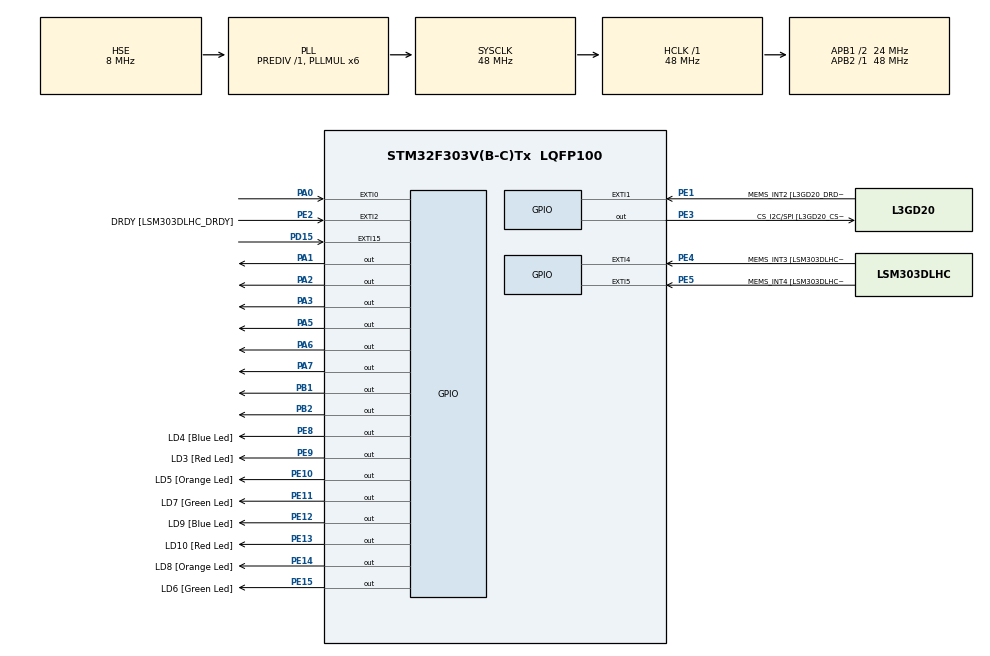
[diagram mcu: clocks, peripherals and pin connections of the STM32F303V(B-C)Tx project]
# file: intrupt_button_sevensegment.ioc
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Mcu.Family=STM32F3
Mcu.Name=STM32F303V(B-C)Tx
Mcu.Package=LQFP100
NVIC.EXTI0_IRQn=true\:0\:0\:false\:false\:true\:true\:true
NVIC.EXTI15_10_IRQn=true\:0\:0\:false\:false\:true\:true\:true
NVIC.PriorityGroup=NVIC_PRIORITYGROUP_0
PA0.GPIO_ModeDefaultEXTI=GPIO_MODE_IT_RISING_FALLING
PA0.GPIO_PuPd=GPIO_PULLDOWN
PA0.Signal=GPXTI0
PA1.Signal=GPIO_Output
PA11.GPIO_Label=DM
PA11.Signal=USB_DM
PA12.GPIO_Label=DP
PA12.Signal=USB_DP
PA13.GPIO_Label=SWDIO
PA13.Mode=Serial_Wire
PA13.Signal=SYS_JTMS-SWDIO
PA14.GPIO_Label=SWCLK
PA14.Mode=Serial_Wire
PA14.Signal=SYS_JTCK-SWCLK
PA2.Signal=GPIO_Output
PA3.Signal=GPIO_Output
PA5.Signal=GPIO_Output
PA6.Signal=GPIO_Output
PA7.Signal=GPIO_Output
PB1.Signal=GPIO_Output
PB2.Signal=GPIO_Output
PB3.GPIO_Label=SWO
PB3.Signal=SYS_JTDO-TRACESWO
PB6.GPIO_Label=I2C1_SCL [LSM303DLHC_SCL]
PB6.GPIO_Pu=GPIO_PULLUP
PB6.Signal=I2C1_SCL
PB7.GPIO_Label=I2C1_SDA [LSM303DLHC_SDA]
PB7.GPIO_Pu=GPIO_PULLUP
PB7.Signal=I2C1_SDA
PC14-OSC32_IN.GPIO_Label=OSC32_IN
PC14-OSC32_IN.Signal=RCC_OSC32_IN
PC15-OSC32_OUT.GPIO_Label=OSC32_OUT
PC15-OSC32_OUT.Signal=RCC_OSC32_OUT
PD15.GPIO_ModeDefaultEXTI=GPIO_MODE_IT_RISING_FALLING
PD15.GPIO_PuPd=GPIO_PULLDOWN
PD15.Signal=GPXTI15
PE1.GPIO_Label=MEMS_INT2 [L3GD20_DRDY/INT2]
PE1.GPIO_ModeDefaultEXTI=GPIO_MODE_EVT_RISING
PE1.Signal=GPXTI1
PE10.GPIO_Label=LD5 [Orange Led]
PE10.Signal=GPIO_Output
PE11.GPIO_Label=LD7 [Green Led]
PE11.Signal=GPIO_Output
PE12.GPIO_Label=LD9 [Blue Led]
PE12.Signal=GPIO_Output
PE13.GPIO_Label=LD10 [Red Led]
PE13.Signal=GPIO_Output
PE14.GPIO_Label=LD8 [Orange Led]
PE14.Signal=GPIO_Output
PE15.GPIO_Label=LD6 [Green Led]
PE15.Signal=GPIO_Output
PE2.GPIO_Label=DRDY [LSM303DLHC_DRDY]
PE2.GPIO_ModeDefaultEXTI=GPIO_MODE_EVT_RISING
PE2.Signal=GPXTI2
PE3.GPIO_Label=CS_I2C/SPI [L3GD20_CS_I2C/SPI]
PE3.Signal=GPIO_Output
PE4.GPIO_Label=MEMS_INT3 [LSM303DLHC_INT1]
PE4.GPIO_ModeDefaultEXTI=GPIO_MODE_EVT_RISING
PE4.Signal=GPXTI4
PE5.GPIO_Label=MEMS_INT4 [LSM303DLHC_INT2]
PE5.GPIO_ModeDefaultEXTI=GPIO_MODE_EVT_RISING
PE5.Signal=GPXTI5
PE8.GPIO_Label=LD4 [Blue Led]
PE8.Signal=GPIO_Output
PE9.GPIO_Label=LD3 [Red Led]
PE9.Signal=GPIO_Output
PF0-OSC_IN.GPIO_Label=OSC_IN
PF0-OSC_IN.Mode=HSE-External-Clock-Source
PF0-OSC_IN.Signal=RCC_OSC_IN
PF1-OSC_OUT.GPIO_Label=OSC_OUT
PF1-OSC_OUT.Signal=RCC_OSC_OUT
ProjectManager.HeapSize=0x200
ProjectManager.StackSize=0x400
ProjectManager.TargetToolchain=STM32CubeIDE
RCC.AHBFreq_Value=48000000
RCC.APB1CLKDivider=RCC_HCLK_DIV2
RCC.APB1Freq_Value=24000000
RCC.APB1TimFreq_Value=48000000
RCC.APB2Freq_Value=48000000
RCC.APB2TimFreq_Value=48000000
RCC.CortexFreq_Value=48000000
RCC.HCLKFreq_Value=48000000
RCC.HSE_VALUE=8000000
RCC.HSI_VALUE=8000000
RCC.LSE_VALUE=32768
RCC.PLLMUL=RCC_PLL_MUL6
RCC.PLLSourceVirtual=RCC_PLLSOURCE_HSE
RCC.SYSCLKFreq_VALUE=48000000
RCC.SYSCLKSourceVirtual=RCC_SYSCLKSOURCE_PLLCLK
RCC.USBFreq_Value=48000000
board=STM32F3DISCOVERY

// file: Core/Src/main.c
/* USER CODE BEGIN Header */
/**
  ******************************************************************************
  * @file           : main.c
  * @brief          : Main program body
  ******************************************************************************
  * @attention
  *
  * <h2><center>&copy; Copyright (c) 2021 STMicroelectronics.
  * All rights reserved.</center></h2>
  *
  * This software component is licensed by ST under BSD 3-Clause license,
  * the "License"; You may not use this file except in compliance with the
  * License. You may obtain a copy of the License at:
  *                        opensource.org/licenses/BSD-3-Clause
  *
  ******************************************************************************
  */
/* USER CODE END Header */
#include "main.h"

void SystemClock_Config(void);
static void MX_GPIO_Init(void);

/* USER CODE BEGIN 0 */

void split_number(int num, int digits[4]) {
    if(num > 9999) {
        return;
    }
    for(int i = 0; num > 0 && i < 4; i++) {
        int digit = num % 10;
        digits[3 - i] = digit;
        num /= 10;
    }
}

void to_bcd(int digit, int b[4]) {
   int bcd = 0;
   if (digit > 0) {
      bcd |= (digit % 10) << (0 << 2);
   }
   b[3] = (bcd & 8) > 0 ? 1 : 0;
   b[2] = (bcd & 4) > 0 ? 1 : 0;
   b[1] = (bcd & 2) > 0 ? 1 : 0;
   b[0] = (bcd & 1) > 0 ? 1 : 0;
}

void off_all() {
	HAL_GPIO_WritePin(GPIOA, GPIO_PIN_1 , 1);
	HAL_GPIO_WritePin(GPIOA, GPIO_PIN_2, 1);
	HAL_GPIO_WritePin(GPIOA,  GPIO_PIN_3, 1);
	HAL_GPIO_WritePin(GPIOA,  GPIO_PIN_5, 1);
}

void write_number(int num) {
	if (num > 9999 || num < 0) return;
	int digits[4] = {0};
	int b[4] = {0};
	int controllers[4][2] = {{GPIOA, GPIO_PIN_1}, {GPIOA, GPIO_PIN_3},
				            {GPIOA, GPIO_PIN_2}, {GPIOA, GPIO_PIN_5}};
	int ic[4][2] = {{GPIOA, GPIO_PIN_6}, {GPIOB, GPIO_PIN_2},
				   {GPIOB, GPIO_PIN_1}, {GPIOA, GPIO_PIN_7}};
	split_number(num, digits);
	for(int i = 0; i < 4; i++) {
		off_all();
		to_bcd(digits[i], b);
		for(int j = 0; j < 4; j++) {
			HAL_GPIO_WritePin(ic[j][0],  ic[j][1], b[j]);
		}
		HAL_GPIO_WritePin(GPIOA, controllers[i][1], 0);
		HAL_Delay(3);
	}
}

int time = 0;
int stop = 0;
int now = 0;

/* USER CODE END 0 */

int main(void)
{

  /* MCU Configuration--------------------------------------------------------*/

  /* Reset of all peripherals, Initializes the Flash interface and the Systick. */
  HAL_Init();

  /* Configure the system clock */
  SystemClock_Config();

  /* Initialize all configured peripherals */
  MX_GPIO_Init();

  /* Infinite loop */
  /* USER CODE BEGIN WHILE */
  int time_from = HAL_GetTick();
  while (1)
  {
    /* USER CODE END WHILE */

    /* USER CODE BEGIN 3 */
	  if(stop == 1) {
		  time_from = HAL_GetTick();
		  write_number(now);
		  continue;
	  }
	  time += (HAL_GetTick() - time_from);
	  time_from = HAL_GetTick();
	  now = time / 1000;
	  now = (now * 10) + ((time % 1000) / 100);
	  if (now >= 9999) {
		  now = 0;
		  time = 0;
		  time_from = HAL_GetTick();
	  }
	  write_number(now);
  }
  /* USER CODE END 3 */
}

void SystemClock_Config(void)
{
  RCC_OscInitTypeDef RCC_OscInitStruct = {0};
  RCC_ClkInitTypeDef RCC_ClkInitStruct = {0};

  /** Initializes the RCC Oscillators according to the specified parameters
  * in the RCC_OscInitTypeDef structure.
  */
  RCC_OscInitStruct.OscillatorType = RCC_OSCILLATORTYPE_HSE;
  RCC_OscInitStruct.HSEState = RCC_HSE_BYPASS;
  RCC_OscInitStruct.HSEPredivValue = RCC_HSE_PREDIV_DIV1;
  RCC_OscInitStruct.HSIState = RCC_HSI_ON;
  RCC_OscInitStruct.PLL.PLLState = RCC_PLL_ON;
  RCC_OscInitStruct.PLL.PLLSource = RCC_PLLSOURCE_HSE;
  RCC_OscInitStruct.PLL.PLLMUL = RCC_PLL_MUL6;
  if (HAL_RCC_OscConfig(&RCC_OscInitStruct) != HAL_OK)
  {
    Error_Handler();
  }
  /** Initializes the CPU, AHB and APB buses clocks
  */
  RCC_ClkInitStruct.ClockType = RCC_CLOCKTYPE_HCLK|RCC_CLOCKTYPE_SYSCLK
                              |RCC_CLOCKTYPE_PCLK1|RCC_CLOCKTYPE_PCLK2;
  RCC_ClkInitStruct.SYSCLKSource = RCC_SYSCLKSOURCE_PLLCLK;
  RCC_ClkInitStruct.AHBCLKDivider = RCC_SYSCLK_DIV1;
  RCC_ClkInitStruct.APB1CLKDivider = RCC_HCLK_DIV2;
  RCC_ClkInitStruct.APB2CLKDivider = RCC_HCLK_DIV1;

  if (HAL_RCC_ClockConfig(&RCC_ClkInitStruct, FLASH_LATENCY_1) != HAL_OK)
  {
    Error_Handler();
  }
}

static void MX_GPIO_Init(void)
{
  GPIO_InitTypeDef GPIO_InitStruct = {0};

  /* GPIO Ports Clock Enable */
  __HAL_RCC_GPIOE_CLK_ENABLE();
  __HAL_RCC_GPIOC_CLK_ENABLE();
  __HAL_RCC_GPIOF_CLK_ENABLE();
  __HAL_RCC_GPIOA_CLK_ENABLE();
  __HAL_RCC_GPIOB_CLK_ENABLE();
  __HAL_RCC_GPIOD_CLK_ENABLE();

  /*Configure GPIO pin Output Level */
  HAL_GPIO_WritePin(GPIOE, CS_I2C_SPI_Pin|LD4_Pin|LD3_Pin|LD5_Pin
                          |LD7_Pin|LD9_Pin|LD10_Pin|LD8_Pin
                          |LD6_Pin, GPIO_PIN_RESET);

  /*Configure GPIO pin Output Level */
  HAL_GPIO_WritePin(GPIOA, GPIO_PIN_1|GPIO_PIN_2|GPIO_PIN_3|GPIO_PIN_5
                          |GPIO_PIN_6|GPIO_PIN_7, GPIO_PIN_RESET);

  /*Configure GPIO pin Output Level */
  HAL_GPIO_WritePin(GPIOB, GPIO_PIN_1|GPIO_PIN_2, GPIO_PIN_RESET);

  /*Configure GPIO pins : DRDY_Pin MEMS_INT3_Pin MEMS_INT4_Pin MEMS_INT2_Pin */
  GPIO_InitStruct.Pin = DRDY_Pin|MEMS_INT3_Pin|MEMS_INT4_Pin|MEMS_INT2_Pin;
  GPIO_InitStruct.Mode = GPIO_MODE_EVT_RISING;
  GPIO_InitStruct.Pull = GPIO_NOPULL;
  HAL_GPIO_Init(GPIOE, &GPIO_InitStruct);

  /*Configure GPIO pins : CS_I2C_SPI_Pin LD4_Pin LD3_Pin LD5_Pin
                           LD7_Pin LD9_Pin LD10_Pin LD8_Pin
                           LD6_Pin */
  GPIO_InitStruct.Pin = CS_I2C_SPI_Pin|LD4_Pin|LD3_Pin|LD5_Pin
                          |LD7_Pin|LD9_Pin|LD10_Pin|LD8_Pin
                          |LD6_Pin;
  GPIO_InitStruct.Mode = GPIO_MODE_OUTPUT_PP;
  GPIO_InitStruct.Pull = GPIO_NOPULL;
  GPIO_InitStruct.Speed = GPIO_SPEED_FREQ_LOW;
  HAL_GPIO_Init(GPIOE, &GPIO_InitStruct);

  /*Configure GPIO pin : PA0 */
  GPIO_InitStruct.Pin = GPIO_PIN_0;
  GPIO_InitStruct.Mode = GPIO_MODE_IT_RISING_FALLING;
  GPIO_InitStruct.Pull = GPIO_PULLDOWN;
  HAL_GPIO_Init(GPIOA, &GPIO_InitStruct);

  /*Configure GPIO pins : PA1 PA2 PA3 PA5
                           PA6 PA7 */
  GPIO_InitStruct.Pin = GPIO_PIN_1|GPIO_PIN_2|GPIO_PIN_3|GPIO_PIN_5
                          |GPIO_PIN_6|GPIO_PIN_7;
  GPIO_InitStruct.Mode = GPIO_MODE_OUTPUT_PP;
  GPIO_InitStruct.Pull = GPIO_NOPULL;
  GPIO_InitStruct.Speed = GPIO_SPEED_FREQ_LOW;
  HAL_GPIO_Init(GPIOA, &GPIO_InitStruct);

  /*Configure GPIO pins : PB1 PB2 */
  GPIO_InitStruct.Pin = GPIO_PIN_1|GPIO_PIN_2;
  GPIO_InitStruct.Mode = GPIO_MODE_OUTPUT_PP;
  GPIO_InitStruct.Pull = GPIO_NOPULL;
  GPIO_InitStruct.Speed = GPIO_SPEED_FREQ_LOW;
  HAL_GPIO_Init(GPIOB, &GPIO_InitStruct);

  /*Configure GPIO pin : PD15 */
  GPIO_InitStruct.Pin = GPIO_PIN_15;
  GPIO_InitStruct.Mode = GPIO_MODE_IT_RISING_FALLING;
  GPIO_InitStruct.Pull = GPIO_PULLDOWN;
  HAL_GPIO_Init(GPIOD, &GPIO_InitStruct);

  /*Configure GPIO pins : DM_Pin DP_Pin */
  GPIO_InitStruct.Pin = DM_Pin|DP_Pin;
  GPIO_InitStruct.Mode = GPIO_MODE_AF_PP;
  GPIO_InitStruct.Pull = GPIO_NOPULL;
  GPIO_InitStruct.Speed = GPIO_SPEED_FREQ_HIGH;
  GPIO_InitStruct.Alternate = GPIO_AF14_USB;
  HAL_GPIO_Init(GPIOA, &GPIO_InitStruct);

  /*Configure GPIO pins : I2C1_SCL_Pin I2C1_SDA_Pin */
  GPIO_InitStruct.Pin = I2C1_SCL_Pin|I2C1_SDA_Pin;
  GPIO_InitStruct.Mode = GPIO_MODE_AF_OD;
  GPIO_InitStruct.Pull = GPIO_PULLUP;
  GPIO_InitStruct.Speed = GPIO_SPEED_FREQ_HIGH;
  GPIO_InitStruct.Alternate = GPIO_AF4_I2C1;
  HAL_GPIO_Init(GPIOB, &GPIO_InitStruct);

  /* EXTI interrupt init*/
  HAL_NVIC_SetPriority(EXTI0_IRQn, 0, 0);
  HAL_NVIC_EnableIRQ(EXTI0_IRQn);

  HAL_NVIC_SetPriority(EXTI15_10_IRQn, 0, 0);
  HAL_NVIC_EnableIRQ(EXTI15_10_IRQn);

}

void Error_Handler(void)
{
  __disable_irq();
  while (1)
  {
  }
}

/************************ (C) COPYRIGHT STMicroelectronics *****END OF FILE****/
